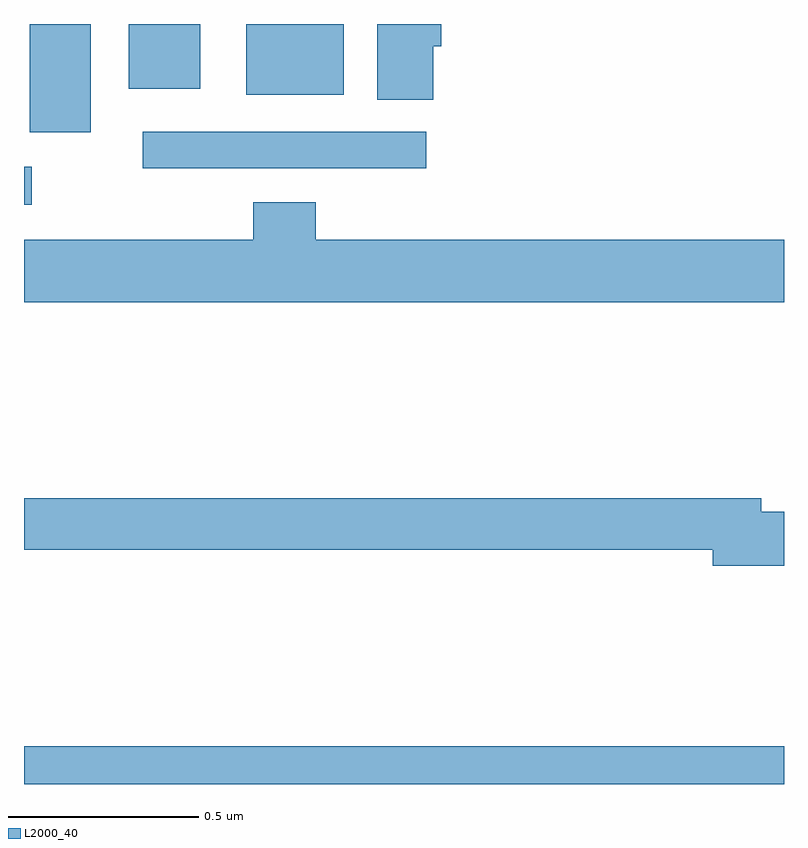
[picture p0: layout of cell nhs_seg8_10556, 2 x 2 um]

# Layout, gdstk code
import gdstk
lib = gdstk.Library(unit=1e-6, precision=1e-09)
def R(c, l, rs):  # rectangles x0, y0, x1, y1
    for r in rs: c.add(gdstk.rectangle(r[:2], r[2:], *l))
def P(c, l, *ps):  # polygons
    for p in ps: c.add(gdstk.Polygon(p, *l))
L2000_40 = (2000, 40)

nhs_seg8_10556 = lib.new_cell('nhs_seg8_10556')
R(nhs_seg8_10556, L2000_40, [(251,1113.9,253,1114), (251,1115.424,251.02,1115.524), (251.313,1115.52,252.058,1115.616), (251.015,1115.615,251.176,1115.9), (251.585,1115.714,251.842,1115.9), (251.276,1115.729,251.464,1115.9)])
P(nhs_seg8_10556, L2000_40, [(252.077,1115.841),(252.098,1115.841),(252.098,1115.9),(251.93,1115.9),(251.93,1115.701),(252.077,1115.701)],
  [(253,1115.332),(251.768,1115.332),(251.768,1115.431),(251.603,1115.431),(251.603,1115.332),(251,1115.332),(251,1115.168),(253,1115.168)],
  [(253,1114.616),(252.94,1114.616),(252.94,1114.652),(251,1114.652),(251,1114.516),(252.812,1114.516),(252.812,1114.474),(253,1114.474)])

lib.write_gds('nhs_seg8_10556.gds')
